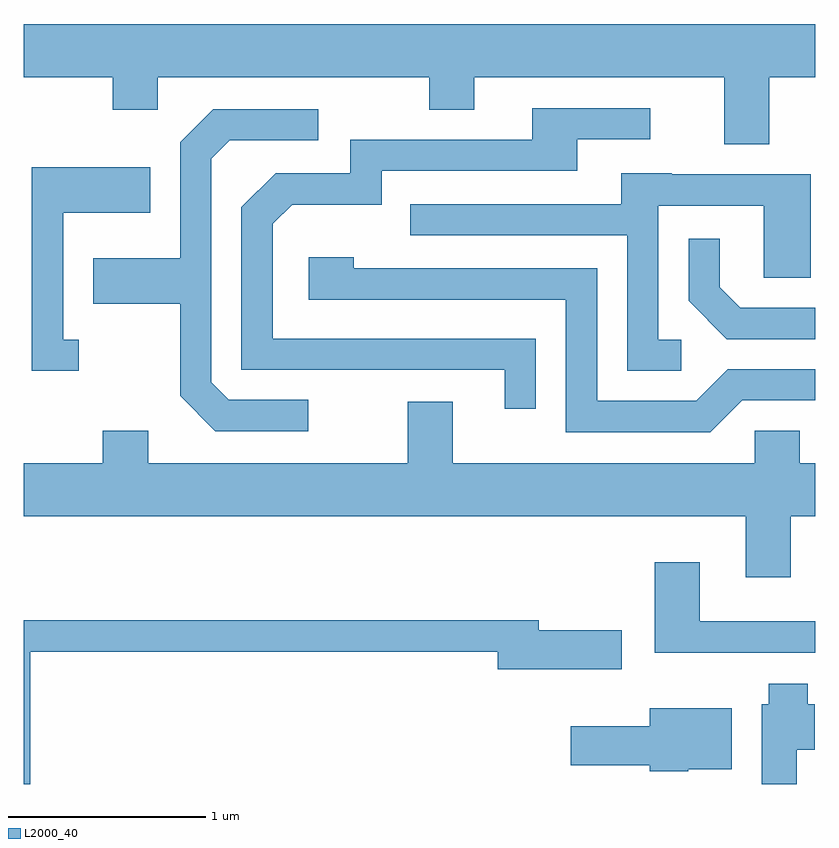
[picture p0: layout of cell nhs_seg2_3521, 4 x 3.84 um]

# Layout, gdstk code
import gdstk
lib = gdstk.Library(unit=1e-6, precision=1e-09)
def P(c, l, *ps):  # polygons
    for p in ps: c.add(gdstk.Polygon(p, *l))
L2000_40 = (2000, 40)

nhs_seg2_3521 = lib.new_cell('nhs_seg2_3521')
P(nhs_seg2_3521, L2000_40, [(291.379,1099.376),(291.611,1099.376),(291.611,1099.644),(287.611,1099.644),(287.611,1099.376),(288.061,1099.376),(288.061,1099.211),(288.289,1099.211),(288.289,1099.376),(289.661,1099.376),(289.661,1099.211),(289.889,1099.211),(289.889,1099.376),(291.151,1099.376),(291.151,1099.036),(291.379,1099.036)],
  [(290.199,1098.054),(288.869,1098.054),(288.869,1098.634),(288.967,1098.731),(289.419,1098.731),(289.419,1098.901),(290.409,1098.901),(290.409,1099.061),(290.778,1099.061),(290.778,1099.219),(290.181,1099.219),(290.181,1099.059),(289.261,1099.059),(289.261,1098.889),(288.884,1098.889),(288.711,1098.717),(288.711,1097.896),(290.041,1097.896),(290.041,1097.698),(290.199,1097.698)],
  [(289.048,1097.744),(288.647,1097.744),(288.559,1097.832),(288.559,1098.964),(288.652,1099.056),(289.098,1099.056),(289.098,1099.214),(288.569,1099.214),(288.401,1099.047),(288.401,1098.459),(287.961,1098.459),(287.961,1098.231),(288.401,1098.231),(288.401,1097.764),(288.579,1097.586),(289.048,1097.586)],
  [(287.888,1098.049),(287.809,1098.049),(287.809,1098.691),(288.249,1098.691),(288.249,1098.919),(287.651,1098.919),(287.651,1097.891),(287.888,1097.891)],
  [(290.933,1098.049),(290.819,1098.049),(290.819,1098.726),(291.351,1098.726),(291.351,1098.361),(291.589,1098.361),(291.589,1098.884),(290.885,1098.884),(290.885,1098.889),(290.631,1098.889),(290.631,1098.734),(289.563,1098.734),(289.563,1098.576),(290.661,1098.576),(290.661,1097.891),(290.933,1097.891)],
  [(291.611,1098.209),(291.232,1098.209),(291.129,1098.312),(291.129,1098.558),(290.971,1098.558),(290.971,1098.244),(291.164,1098.051),(291.611,1098.051)],
  [(291.242,1097.741),(291.611,1097.741),(291.611,1097.899),(291.169,1097.899),(291.009,1097.739),(290.509,1097.739),(290.509,1098.409),(289.279,1098.409),(289.279,1098.464),(289.051,1098.464),(289.051,1098.251),(290.351,1098.251),(290.351,1097.581),(291.082,1097.581)],
  [(291.489,1097.156),(291.611,1097.156),(291.611,1097.424),(291.534,1097.424),(291.534,1097.589),(291.306,1097.589),(291.306,1097.424),(289.779,1097.424),(289.779,1097.734),(289.551,1097.734),(289.551,1097.424),(288.239,1097.424),(288.239,1097.589),(288.011,1097.589),(288.011,1097.424),(287.611,1097.424),(287.611,1097.156),(291.261,1097.156),(291.261,1096.846),(291.489,1096.846)],
  [(291.611,1096.624),(291.029,1096.624),(291.029,1096.924),(290.801,1096.924),(290.801,1096.466),(291.611,1096.466)],
  [(287.644,1096.471),(290.006,1096.471),(290.006,1096.381),(290.634,1096.381),(290.634,1096.579),(290.214,1096.579),(290.214,1096.629),(287.611,1096.629),(287.611,1095.802),(287.644,1095.802)],
  [(291.519,1095.976),(291.609,1095.976),(291.609,1096.204),(291.574,1096.204),(291.574,1096.309),(291.376,1096.309),(291.376,1096.204),(291.341,1096.204),(291.341,1095.802),(291.519,1095.802)],
  [(290.97,1095.876),(291.189,1095.876),(291.189,1096.184),(290.776,1096.184),(290.776,1096.094),(290.376,1096.094),(290.376,1095.896),(290.776,1095.896),(290.776,1095.866),(290.97,1095.866)])

lib.write_gds('nhs_seg2_3521.gds')
